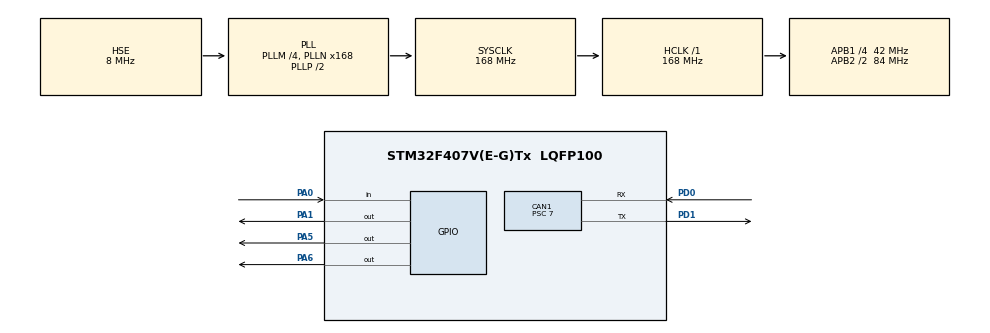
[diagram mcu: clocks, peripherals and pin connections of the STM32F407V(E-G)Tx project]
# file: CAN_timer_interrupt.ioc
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CAN1.BS1=CAN_BS1_5TQ
CAN1.BS2=CAN_BS2_6TQ
CAN1.CalculateTimeQuantum=166.66666666666669
CAN1.Prescaler=7
Mcu.Family=STM32F4
Mcu.Name=STM32F407V(E-G)Tx
Mcu.Package=LQFP100
NVIC.CAN1_RX0_IRQn=true\:0\:0\:false\:false\:true\:true\:true
NVIC.PriorityGroup=NVIC_PRIORITYGROUP_4
NVIC.TIM2_IRQn=true\:0\:0\:false\:false\:true\:true\:true
PA0-WKUP.GPIO_PuPd=GPIO_PULLDOWN
PA0-WKUP.Signal=GPIO_Input
PA1.Signal=GPIO_Output
PA5.Signal=GPIO_Output
PA6.Signal=GPIO_Output
PD0.Mode=Master
PD0.Signal=CAN1_RX
PD1.Mode=Master
PD1.Signal=CAN1_TX
PH0-OSC_IN.Mode=HSE-External-Oscillator
PH0-OSC_IN.Signal=RCC_OSC_IN
PH1-OSC_OUT.Mode=HSE-External-Oscillator
PH1-OSC_OUT.Signal=RCC_OSC_OUT
ProjectManager.HeapSize=0x200
ProjectManager.StackSize=0x400
ProjectManager.TargetToolchain=MDK-ARM V5.27
RCC.48MHZClocksFreq_Value=84000000
RCC.AHBFreq_Value=168000000
RCC.APB1CLKDivider=RCC_HCLK_DIV4
RCC.APB1Freq_Value=42000000
RCC.APB1TimFreq_Value=84000000
RCC.APB2CLKDivider=RCC_HCLK_DIV2
RCC.APB2Freq_Value=84000000
RCC.APB2TimFreq_Value=168000000
RCC.CortexFreq_Value=168000000
RCC.HCLKFreq_Value=168000000
RCC.HSE_VALUE=8000000
RCC.HSI_VALUE=16000000
RCC.LSE_VALUE=32768
RCC.PLLM=4
RCC.PLLN=168
RCC.PLLSourceVirtual=RCC_PLLSOURCE_HSE
RCC.SYSCLKFreq_VALUE=168000000
RCC.SYSCLKSource=RCC_SYSCLKSOURCE_PLLCLK
RCC.VCOOutputFreq_Value=336000000
TIM2.Period=100
TIM2.Prescaler=42000
TIM2.TIM_MasterOutputTrigger=TIM_TRGO_UPDATE
VP_TIM2_VS_ClockSourceINT.Mode=Internal
board=custom

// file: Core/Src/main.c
/* USER CODE BEGIN Header */
/**
  ******************************************************************************
  * @file           : main.c
  * @brief          : Main program body
  ******************************************************************************
  * @attention
  *
  * <h2><center>&copy; Copyright (c) 2021 STMicroelectronics.
  * All rights reserved.</center></h2>
  *
  * This software component is licensed by ST under BSD 3-Clause license,
  * the "License"; You may not use this file except in compliance with the
  * License. You may obtain a copy of the License at:
  *                        opensource.org/licenses/BSD-3-Clause
  *
  ******************************************************************************
  */
/* USER CODE END Header */
#include "main.h"
#include "can.h"
#include "tim.h"
#include "gpio.h"

/* USER CODE BEGIN PV */
//Tx and Rx structure
static CAN_TxHeaderTypeDef TxMessage;
static CAN_RxHeaderTypeDef RxMessage;

//Rx Txdata
uint8_t TxData[8]={0};
uint32_t TxMailbox;
uint8_t RxData[8]={0};

//address
uint16_t OwnID=0x123;
uint16_t RemoteID =0x0A0;

/* USER CODE END PV */

void SystemClock_Config(void);
/* USER CODE BEGIN PFP */
void CAN_filterConfig(void);
void CAN_Txsetup(void);
/* USER CODE END PFP */

int main(void)
{

  /* MCU Configuration--------------------------------------------------------*/

  /* Reset of all peripherals, Initializes the Flash interface and the Systick. */
  HAL_Init();

  /* Configure the system clock */
  SystemClock_Config();

  /* Initialize all configured peripherals */
  MX_GPIO_Init();
  MX_TIM2_Init();
  MX_CAN1_Init();
  /* USER CODE BEGIN 2 */
	HAL_TIM_Base_Start_IT(&htim2);
	CAN_filterConfig();
	CAN_Txsetup();
  /* USER CODE END 2 */

  /* Infinite loop */
  while (1)
  {

    /* USER CODE BEGIN 3 */
		if(HAL_GPIO_ReadPin(GPIOA,GPIO_PIN_0)==HAL_OK){
			TxMessage.StdId=0x0D0;
			TxData[0]=180;
			HAL_GPIO_WritePin(GPIOA,GPIO_PIN_6,GPIO_PIN_SET);
		}else{
			TxMessage.StdId=0x0C0;
			TxData[0]=200;
			HAL_GPIO_WritePin(GPIOA,GPIO_PIN_6,GPIO_PIN_RESET);
		}

  }
  /* USER CODE END 3 */
}

void SystemClock_Config(void)
{
  RCC_OscInitTypeDef RCC_OscInitStruct = {0};
  RCC_ClkInitTypeDef RCC_ClkInitStruct = {0};

  /** Configure the main internal regulator output voltage
  */
  __HAL_RCC_PWR_CLK_ENABLE();
  __HAL_PWR_VOLTAGESCALING_CONFIG(PWR_REGULATOR_VOLTAGE_SCALE1);
  /** Initializes the RCC Oscillators according to the specified parameters
  * in the RCC_OscInitTypeDef structure.
  */
  RCC_OscInitStruct.OscillatorType = RCC_OSCILLATORTYPE_HSE;
  RCC_OscInitStruct.HSEState = RCC_HSE_ON;
  RCC_OscInitStruct.PLL.PLLState = RCC_PLL_ON;
  RCC_OscInitStruct.PLL.PLLSource = RCC_PLLSOURCE_HSE;
  RCC_OscInitStruct.PLL.PLLM = 4;
  RCC_OscInitStruct.PLL.PLLN = 168;
  RCC_OscInitStruct.PLL.PLLP = RCC_PLLP_DIV2;
  RCC_OscInitStruct.PLL.PLLQ = 4;
  if (HAL_RCC_OscConfig(&RCC_OscInitStruct) != HAL_OK)
  {
    Error_Handler();
  }
  /** Initializes the CPU, AHB and APB buses clocks
  */
  RCC_ClkInitStruct.ClockType = RCC_CLOCKTYPE_HCLK|RCC_CLOCKTYPE_SYSCLK
                              |RCC_CLOCKTYPE_PCLK1|RCC_CLOCKTYPE_PCLK2;
  RCC_ClkInitStruct.SYSCLKSource = RCC_SYSCLKSOURCE_PLLCLK;
  RCC_ClkInitStruct.AHBCLKDivider = RCC_SYSCLK_DIV1;
  RCC_ClkInitStruct.APB1CLKDivider = RCC_HCLK_DIV4;
  RCC_ClkInitStruct.APB2CLKDivider = RCC_HCLK_DIV2;

  if (HAL_RCC_ClockConfig(&RCC_ClkInitStruct, FLASH_LATENCY_5) != HAL_OK)
  {
    Error_Handler();
  }
}

/* USER CODE BEGIN 4 */
void HAL_TIM_PeriodElapsedCallback(TIM_HandleTypeDef *htim2)
{
  /* Prevent unused argument(s) compilation warning */
  UNUSED(htim2);

  /* NOTE : This function should not be modified, when the callback is needed,
            the HAL_TIM_PeriodElapsedCallback could be implemented in the user file
   */
	HAL_CAN_AddTxMessage(&hcan1,&TxMessage,TxData,&TxMailbox);
	HAL_GPIO_TogglePin(GPIOA,GPIO_PIN_1);
}

void CAN_filterConfig(void){
	CAN_FilterTypeDef filterConfig;

	filterConfig.FilterBank=0;
	filterConfig.FilterActivation=ENABLE;
	filterConfig.FilterFIFOAssignment=CAN_RX_FIFO0;
	filterConfig.FilterIdHigh=0x0000;
	filterConfig.FilterIdLow=0x0000;
	filterConfig.FilterMaskIdHigh=0x0000;
	filterConfig.FilterMaskIdLow=0x0000;
	filterConfig.FilterMode=CAN_FILTERMODE_IDMASK;
	filterConfig.FilterScale= CAN_FILTERSCALE_32BIT;
	filterConfig.SlaveStartFilterBank=14;

	if(HAL_CAN_ConfigFilter(&hcan1,&filterConfig)!=HAL_OK){
		Error_Handler();
	}

	if(HAL_CAN_ActivateNotification(&hcan1,CAN_IT_RX_FIFO0_MSG_PENDING)!=HAL_OK){
		Error_Handler();
	}		//enable interrupt

}
void CAN_Txsetup(){
		if(HAL_CAN_Start(&hcan1)!=HAL_OK){
		Error_Handler();
		}

		TxMessage.StdId=0x0C0;
		TxMessage.ExtId=0x01;
		TxMessage.RTR=CAN_RTR_DATA;
		TxMessage.IDE=CAN_ID_STD;
		TxMessage.DLC=8;
		TxMessage.TransmitGlobalTime=DISABLE;   //time trigger must be turned ON

		TxData[0]=120;
		TxData[1]=5;
		TxData[2]=0;
		TxData[3]=0;
		TxData[4]=0;
		TxData[5]=0;
		TxData[6]=0;
		TxData[7]=0;
		HAL_GPIO_WritePin(GPIOA,GPIO_PIN_6,GPIO_PIN_SET);
}

void HAL_CAN_RxFifo0MsgPendingCallback(CAN_HandleTypeDef *hcan){
	if(HAL_CAN_GetRxMessage(hcan,CAN_RX_FIFO0,&RxMessage,RxData)!=HAL_OK){
		Error_Handler();
	}
}
/* USER CODE END 4 */

void Error_Handler(void)
{
}

/************************ (C) COPYRIGHT STMicroelectronics *****END OF FILE****/
